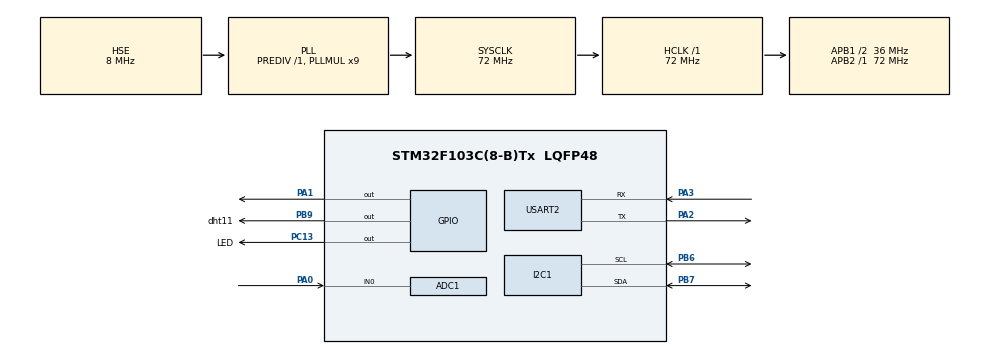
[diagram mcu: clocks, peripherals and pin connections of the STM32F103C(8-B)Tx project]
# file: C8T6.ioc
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ADC1.Channel-0\#ChannelRegularConversion=ADC_CHANNEL_0
ADC1.NbrOfConversionFlag=1
ADC1.Rank-0\#ChannelRegularConversion=1
ADC1.SamplingTime-0\#ChannelRegularConversion=ADC_SAMPLETIME_13CYCLES_5
ADC1.master=1
Mcu.Family=STM32F1
Mcu.Name=STM32F103C(8-B)Tx
Mcu.Package=LQFP48
NVIC.PriorityGroup=NVIC_PRIORITYGROUP_4
NVIC.TIM1_UP_IRQn=true\:0\:0\:false\:false\:true\:true\:true\:true
NVIC.USART2_IRQn=true\:0\:0\:false\:false\:true\:true\:true\:true
PA0-WKUP.Signal=ADCx_IN0
PA1.Signal=GPIO_Output
PA13.Mode=Serial_Wire
PA13.Signal=SYS_JTMS-SWDIO
PA14.Mode=Serial_Wire
PA14.Signal=SYS_JTCK-SWCLK
PA2.Mode=Asynchronous
PA2.Signal=USART2_TX
PA3.Mode=Asynchronous
PA3.Signal=USART2_RX
PB6.Mode=I2C
PB6.Signal=I2C1_SCL
PB7.Mode=I2C
PB7.Signal=I2C1_SDA
PB9.GPIO_Label=dht11
PB9.GPIO_PuPd=GPIO_PULLUP
PB9.GPIO_Speed=GPIO_SPEED_FREQ_HIGH
PB9.Signal=GPIO_Output
PC13-TAMPER-RTC.GPIO_Label=LED
PC13-TAMPER-RTC.Signal=GPIO_Output
PD0-OSC_IN.Mode=HSE-External-Oscillator
PD0-OSC_IN.Signal=RCC_OSC_IN
PD1-OSC_OUT.Mode=HSE-External-Oscillator
PD1-OSC_OUT.Signal=RCC_OSC_OUT
ProjectManager.HeapSize=0x200
ProjectManager.StackSize=0x400
ProjectManager.TargetToolchain=MDK-ARM V5.32
RCC.ADCPresc=RCC_ADCPCLK2_DIV6
RCC.AHBFreq_Value=72000000
RCC.APB1CLKDivider=RCC_HCLK_DIV2
RCC.APB1Freq_Value=36000000
RCC.APB1TimFreq_Value=72000000
RCC.APB2Freq_Value=72000000
RCC.APB2TimFreq_Value=72000000
RCC.HCLKFreq_Value=72000000
RCC.PLLMUL=RCC_PLL_MUL9
RCC.PLLSourceVirtual=RCC_PLLSOURCE_HSE
RCC.SYSCLKFreq_VALUE=72000000
RCC.SYSCLKSource=RCC_SYSCLKSOURCE_PLLCLK
RCC.USBFreq_Value=72000000
SH.ADCx_IN0.0=ADC1_IN0,IN0
TIM1.Prescaler=72-1
USART2.VirtualMode=VM_ASYNC
VP_TIM1_VS_ClockSourceINT.Mode=Internal
board=custom

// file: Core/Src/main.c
/*
 * main.c
 *
 *  说明：STM32F103C8T6 智能鱼缸主程序
 *        功能：DHT11温湿度采集 + 水位检测 + 自动排水 + OLED显示 + ESP8266 TCP上报
 *
 *  硬件连接：
 *    PA0  → 水位传感器ADC输入
 *    PA1  → 水泵继电器控制（高电平启动）
 *    PB6  → OLED I2C SCL
 *    PB7  → OLED I2C SDA
 *    PB9  → DHT11数据线
 *    PA2  → ESP8266 USART2 TX
 *    PA3  → ESP8266 USART2 RX
 *    PC13 → 板载LED（TIM1中断翻转，心跳指示）
 *
 *  控制逻辑：
 *    - 每500ms读取一次温湿度和水位
 *    - 水位>10mm启动排水，水位<1mm停止排水（迟滞控制，防止频繁启停）
 *    - ESP8266作为TCP服务器（端口8080），手机连接后每500ms推送传感器数据
 */

/* USER CODE BEGIN Header */
/**
  ******************************************************************************
  * @file           : main.c
  * @brief          : 智能鱼缸主程序
  ******************************************************************************
  */
/* USER CODE END Header */

#include "main.h"
#include "adc.h"
#include "i2c.h"
#include "tim.h"
#include "usart.h"
#include "gpio.h"

/* USER CODE BEGIN Includes */
#include "Headfile.h"
/* USER CODE END Includes */

/* USER CODE BEGIN PD */
#define ESP_TCP_PORT   8080   /* ESP8266 TCP服务器端口 */
#define ESP_CONN_NUM   0      /* ESP8266连接号（手机连接后默认为0） */

/* 水泵控制阈值（单位：mm，与ADC_Water_GetHeight返回值一致） */
#define PUMP_ON_LEVEL   10    /* 水位高于此值启动排水 */
#define PUMP_OFF_LEVEL  1     /* 水位低于此值停止排水（迟滞区间1~10mm保持原状态） */
/* USER CODE END PD */

void SystemClock_Config(void);
/* USER CODE BEGIN PFP */

/**
 * @brief  启动水泵（PA1输出高电平，继电器吸合）
 */
void WaterPump_Start(void)
{
    HAL_GPIO_WritePin(GPIOA, GPIO_PIN_1, GPIO_PIN_SET);
}

/**
 * @brief  停止水泵（PA1输出低电平，继电器断开）
 */
void WaterPump_Stop(void)
{
    HAL_GPIO_WritePin(GPIOA, GPIO_PIN_1, GPIO_PIN_RESET);
}

/**
 * @brief  向ESP8266发送AT指令并等待响应
 * @param  cmd  AT指令字符串（必须以\\r\\n结尾）
 * @note   固定等待500ms让模块处理并返回响应
 */
void ESP8266_SendCmd(char *cmd)
{
    HAL_UART_Transmit(&huart2, (uint8_t*)cmd, strlen(cmd), 100);
    HAL_Delay(500);
}
/* USER CODE END PFP */

/**
  * @brief  应用程序入口
  * @retval int
  */
int main(void)
{

    /* MCU初始化 */
    HAL_Init();
    SystemClock_Config();

    /* 外设初始化（CubeMX生成） */
    MX_GPIO_Init();
    MX_I2C1_Init();
    MX_TIM1_Init();
    MX_ADC1_Init();
    MX_USART2_UART_Init();  /* USART2：115200波特率，连接ESP8266 */

    /* USER CODE BEGIN 2 */

    /* ESP8266上电配置（AT指令为临时配置，断电丢失，每次上电需重新配置） */
    HAL_Delay(3000);                      /* 等待ESP8266硬件启动（必须≥3s） */
    ESP8266_SendCmd("AT\r\n");                  /* 测试模块是否正常（返回OK） */
    ESP8266_SendCmd("AT+CIPMUX=1\r\n");         /* 开启多连接模式 */
    ESP8266_SendCmd("AT+CIPSERVER=1,8080\r\n"); /* 启动TCP服务器，端口8080 */

    /* OLED初始化 */
    OLED_Init();
    OLED_Clear();

    /* 启动TIM1更新中断（用于PC13 LED心跳翻转） */
    HAL_TIM_Base_Start_IT(&htim1);

    /* 传感器数据变量 */
    uint8_t temperature = 1;   /* 温度（℃） */
    uint8_t humidity    = 1;   /* 湿度（%） */
    uint8_t water_level = 0;   /* 水位（mm） */
    char buff[20];

    /* OLED固定标签显示 */
    OLED_ShowCHinese(20, 1, 0);  /* "温" */
    OLED_ShowCHinese(37, 1, 2);  /* "度" */
    OLED_ShowCHinese(20, 4, 3);  /* "水" */
    OLED_ShowCHinese(37, 4, 4);  /* "位" */

    /* USER CODE END 2 */

    /* 主循环 */
    /* USER CODE BEGIN WHILE */
    while (1)
    {
        /* 1. 读取DHT11温湿度 */
        DHT11_Read_Data(&temperature, &humidity);
        sprintf(buff, "=%d C", temperature);
        OLED_ShowString(60, 1, (uint8_t *)buff, 16);

        /* 2. 读取水位（ADC转换） */
        water_level = ADC_Water_GetHeight();
        sprintf(buff, "=%d mm", water_level);
        OLED_ShowString(60, 4, (uint8_t *)buff, 16);

        /* 3. 通过ESP8266 TCP推送传感器数据 */
        char sensor_data[50];
        sprintf(sensor_data, "温度:%d°C,湿度:%d%%,水位:%dmm\r\n",
                temperature, humidity, water_level);

        /* 发送AT+CIPSEND指令通知模块准备接收数据 */
        char tcp_send_cmd[30];
        sprintf(tcp_send_cmd, "AT+CIPSEND=%d,%d\r\n",
                ESP_CONN_NUM, (int)strlen(sensor_data));
        ESP8266_SendCmd(tcp_send_cmd);

        /* 发送实际传感器数据 */
        HAL_UART_Transmit(&huart2, (uint8_t*)sensor_data,
                          strlen(sensor_data), 100);
        HAL_Delay(100);

        /* 4. 水泵自动控制（迟滞逻辑） */
        if (water_level > PUMP_ON_LEVEL)
        {
            WaterPump_Start();   /* 水位过高，启动排水 */
        }
        else if (water_level < PUMP_OFF_LEVEL)
        {
            WaterPump_Stop();    /* 水位过低，停止排水 */
        }
        /* 水位在1~10mm之间时保持水泵当前状态（迟滞，防止频繁启停） */

        HAL_Delay(500);  /* 500ms控制周期 */
    /* USER CODE END WHILE */

    }
}

/**
  * @brief  系统时钟配置（HSE 8MHz × PLL9 = 72MHz）
  * @retval None
  */
void SystemClock_Config(void)
{
    RCC_OscInitTypeDef RCC_OscInitStruct = {0};
    RCC_ClkInitTypeDef RCC_ClkInitStruct = {0};
    RCC_PeriphCLKInitTypeDef PeriphClkInit = {0};

    /** 配置振荡器：HSE外部8MHz晶振 + PLL×9 = 72MHz */
    RCC_OscInitStruct.OscillatorType = RCC_OSCILLATORTYPE_HSE;
    RCC_OscInitStruct.HSEState = RCC_HSE_ON;
    RCC_OscInitStruct.HSEPredivValue = RCC_HSE_PREDIV_DIV1;
    RCC_OscInitStruct.HSIState = RCC_HSI_ON;
    RCC_OscInitStruct.PLL.PLLState = RCC_PLL_ON;
    RCC_OscInitStruct.PLL.PLLSource = RCC_PLLSOURCE_HSE;
    RCC_OscInitStruct.PLL.PLLMUL = RCC_PLL_MUL9;
    if (HAL_RCC_OscConfig(&RCC_OscInitStruct) != HAL_OK)
    {
        Error_Handler();
    }

    /** 配置总线时钟：SYSCLK=72MHz, AHB=72MHz, APB1=36MHz, APB2=72MHz */
    RCC_ClkInitStruct.ClockType = RCC_CLOCKTYPE_HCLK|RCC_CLOCKTYPE_SYSCLK
                                |RCC_CLOCKTYPE_PCLK1|RCC_CLOCKTYPE_PCLK2;
    RCC_ClkInitStruct.SYSCLKSource = RCC_SYSCLKSOURCE_PLLCLK;
    RCC_ClkInitStruct.AHBCLKDivider = RCC_SYSCLK_DIV1;
    RCC_ClkInitStruct.APB1CLKDivider = RCC_HCLK_DIV2;
    RCC_ClkInitStruct.APB2CLKDivider = RCC_HCLK_DIV1;

    if (HAL_RCC_ClockConfig(&RCC_ClkInitStruct, FLASH_LATENCY_2) != HAL_OK)
    {
        Error_Handler();
    }

    /** ADC时钟：PCLK2/6 = 12MHz（ADC最大14MHz） */
    PeriphClkInit.PeriphClockSelection = RCC_PERIPHCLK_ADC;
    PeriphClkInit.AdcClockSelection = RCC_ADCPCLK2_DIV6;
    if (HAL_RCCEx_PeriphCLKConfig(&PeriphClkInit) != HAL_OK)
    {
        Error_Handler();
    }
}

/* USER CODE BEGIN 4 */

/**
 * @brief  TIM定时器更新中断回调函数
 * @param  htim  触发中断的定时器句柄
 * @note   TIM1定时中断触发时翻转PC13（板载LED），作为系统心跳指示
 */
void HAL_TIM_PeriodElapsedCallback(TIM_HandleTypeDef *htim)
{
    if (htim->Instance == TIM1)
    {
        HAL_GPIO_TogglePin(GPIOC, GPIO_PIN_13);  /* 翻转板载LED */
    }
}
/* USER CODE END 4 */

/**
  * @brief  错误处理函数（HAL库初始化失败时调用）
  * @retval None
  */
void Error_Handler(void)
{
    __disable_irq();
    while (1)
    {
    }
}
